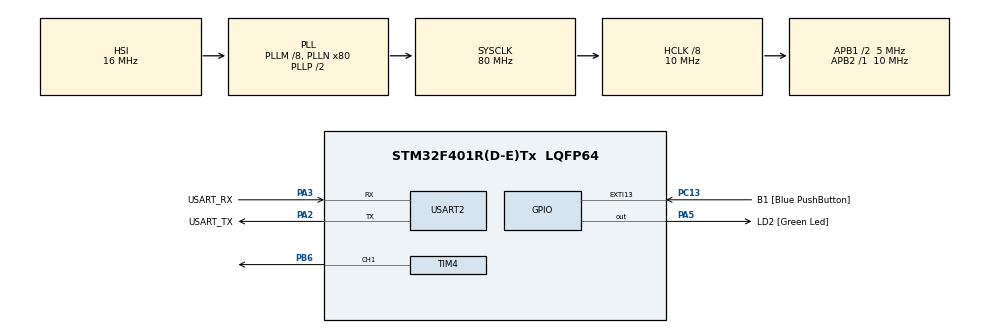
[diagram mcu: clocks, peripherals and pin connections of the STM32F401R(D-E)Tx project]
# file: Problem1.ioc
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Mcu.Family=STM32F4
Mcu.Name=STM32F401R(D-E)Tx
Mcu.Package=LQFP64
NVIC.PriorityGroup=NVIC_PRIORITYGROUP_2
NVIC.TIM4_IRQn=true\:0\:0\:false\:false\:true\:true\:true\:true
NVIC.USART2_IRQn=true\:2\:0\:true\:false\:true\:true\:true\:true
PA13.GPIO_Label=TMS
PA13.Mode=Serial_Wire
PA13.Signal=SYS_JTMS-SWDIO
PA14.GPIO_Label=TCK
PA14.Mode=Serial_Wire
PA14.Signal=SYS_JTCK-SWCLK
PA2.GPIO_Label=USART_TX
PA2.GPIO_Mode=GPIO_MODE_AF_PP
PA2.GPIO_PuPd=GPIO_NOPULL
PA2.GPIO_Speed=GPIO_SPEED_FREQ_LOW
PA2.Mode=Asynchronous
PA2.Signal=USART2_TX
PA3.GPIO_Label=USART_RX
PA3.GPIO_Mode=GPIO_MODE_AF_PP
PA3.GPIO_PuPd=GPIO_NOPULL
PA3.GPIO_Speed=GPIO_SPEED_FREQ_LOW
PA3.Mode=Asynchronous
PA3.Signal=USART2_RX
PA5.GPIO_Label=LD2 [Green Led]
PA5.GPIO_Mode=GPIO_MODE_OUTPUT_PP
PA5.GPIO_PuPd=GPIO_NOPULL
PA5.GPIO_Speed=GPIO_SPEED_FREQ_LOW
PA5.Signal=GPIO_Output
PB3.GPIO_Label=SWO
PB3.Signal=SYS_JTDO-SWO
PB6.Signal=S_TIM4_CH1
PC13-ANTI_TAMP.GPIO_Label=B1 [Blue PushButton]
PC13-ANTI_TAMP.GPIO_ModeDefaultEXTI=GPIO_MODE_IT_FALLING
PC13-ANTI_TAMP.GPIO_PuPd=GPIO_NOPULL
PC13-ANTI_TAMP.Signal=GPXTI13
PC14-OSC32_IN.Mode=LSE-External-Oscillator
PC14-OSC32_IN.Signal=RCC_OSC32_IN
PC15-OSC32_OUT.Mode=LSE-External-Oscillator
PC15-OSC32_OUT.Signal=RCC_OSC32_OUT
PH0\ -\ OSC_IN.Mode=HSE-External-Clock-Source
PH0\ -\ OSC_IN.Signal=RCC_OSC_IN
PH1\ -\ OSC_OUT.Mode=HSE-External-Clock-Source
PH1\ -\ OSC_OUT.Signal=RCC_OSC_OUT
ProjectManager.HeapSize=0x200
ProjectManager.StackSize=0x400
ProjectManager.TargetToolchain=STM32CubeIDE
RCC.48MHZClocksFreq_Value=22857142.85714286
RCC.AHBCLKDivider=RCC_SYSCLK_DIV8
RCC.AHBFreq_Value=10000000
RCC.APB1CLKDivider=RCC_HCLK_DIV2
RCC.APB1Freq_Value=5000000
RCC.APB1TimFreq_Value=10000000
RCC.APB2Freq_Value=10000000
RCC.APB2TimFreq_Value=10000000
RCC.CortexFreq_Value=10000000
RCC.HCLKFreq_Value=10000000
RCC.HSE_VALUE=8000000
RCC.HSI_VALUE=16000000
RCC.PLLM=8
RCC.PLLN=80
RCC.PLLQ=7
RCC.SYSCLKFreq_VALUE=80000000
RCC.SYSCLKSource=RCC_SYSCLKSOURCE_PLLCLK
RCC.VCOOutputFreq_Value=160000000
SH.S_TIM4_CH1.0=TIM4_CH1,Output Compare1 CH1
TIM4.AutoReloadPreload=TIM_AUTORELOAD_PRELOAD_DISABLE
TIM4.Channel-Output\ Compare1\ CH1=TIM_CHANNEL_1
TIM4.Period=999
TIM4.Prescaler=4999
USART2.VirtualMode=VM_ASYNC
VP_TIM4_VS_ClockSourceINT.Mode=Internal
board=NUCLEO-F401RE

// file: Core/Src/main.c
/* USER CODE BEGIN Header */
/**
  ******************************************************************************
  * @file           : main.c
  * @brief          : Main program body
  ******************************************************************************
  * @attention
  *
  * Copyright (c) 2024 STMicroelectronics.
  * All rights reserved.
  *
  * This software is licensed under terms that can be found in the LICENSE file
  * in the root directory of this software component.
  * If no LICENSE file comes with this software, it is provided AS-IS.
  *
  ******************************************************************************
  */
/* USER CODE END Header */
#include "main.h"

TIM_HandleTypeDef htim4;

UART_HandleTypeDef huart2;

void SystemClock_Config(void);
static void MX_GPIO_Init(void);
static void MX_USART2_UART_Init(void);
static void MX_TIM4_Init(void);

/* USER CODE BEGIN 0 */
char current[1];
char buffer[25];
int now = 0;
void HAL_TIM_PeriodElapsedCallback(TIM_HandleTypeDef *htim){
	if(htim == &htim4){
		HAL_GPIO_TogglePin(GPIOA, GPIO_PIN_5);
	}
}

void HAL_UART_RxCpltCallback(UART_HandleTypeDef *huart){
	buffer[now] = current[0];
	now++;
	if(now >= 24 || (current[0] >= '0' && current[0] <= '9')){
		for(int i=0;i<now;i++){
			if(buffer[i] < '0' || buffer[i] > '9'){
				current[0] = buffer[i];
				HAL_UART_Transmit(&huart2, current, 1, 10);
			}
		}
		now = 0;
	}
}

/* USER CODE END 0 */

int main(void)
{

  /* MCU Configuration--------------------------------------------------------*/

  /* Reset of all peripherals, Initializes the Flash interface and the Systick. */
  HAL_Init();

  /* Configure the system clock */
  SystemClock_Config();

  /* Initialize all configured peripherals */
  MX_GPIO_Init();
  MX_USART2_UART_Init();
  MX_TIM4_Init();
  /* USER CODE BEGIN 2 */
  HAL_TIM_Base_Start_IT(&htim4);

  /* USER CODE END 2 */

  /* Infinite loop */
  /* USER CODE BEGIN WHILE */
  while (1)
  {
	  HAL_UART_Receive_IT(&huart2, current, 1);
    /* USER CODE END WHILE */

  }
}

void SystemClock_Config(void)
{
  RCC_OscInitTypeDef RCC_OscInitStruct = {0};
  RCC_ClkInitTypeDef RCC_ClkInitStruct = {0};

  /** Configure the main internal regulator output voltage
  */
  __HAL_RCC_PWR_CLK_ENABLE();
  __HAL_PWR_VOLTAGESCALING_CONFIG(PWR_REGULATOR_VOLTAGE_SCALE2);

  /** Initializes the RCC Oscillators according to the specified parameters
  * in the RCC_OscInitTypeDef structure.
  */
  RCC_OscInitStruct.OscillatorType = RCC_OSCILLATORTYPE_HSI;
  RCC_OscInitStruct.HSIState = RCC_HSI_ON;
  RCC_OscInitStruct.HSICalibrationValue = RCC_HSICALIBRATION_DEFAULT;
  RCC_OscInitStruct.PLL.PLLState = RCC_PLL_ON;
  RCC_OscInitStruct.PLL.PLLSource = RCC_PLLSOURCE_HSI;
  RCC_OscInitStruct.PLL.PLLM = 8;
  RCC_OscInitStruct.PLL.PLLN = 80;
  RCC_OscInitStruct.PLL.PLLP = RCC_PLLP_DIV2;
  RCC_OscInitStruct.PLL.PLLQ = 7;
  if (HAL_RCC_OscConfig(&RCC_OscInitStruct) != HAL_OK)
  {
    Error_Handler();
  }

  /** Initializes the CPU, AHB and APB buses clocks
  */
  RCC_ClkInitStruct.ClockType = RCC_CLOCKTYPE_HCLK|RCC_CLOCKTYPE_SYSCLK
                              |RCC_CLOCKTYPE_PCLK1|RCC_CLOCKTYPE_PCLK2;
  RCC_ClkInitStruct.SYSCLKSource = RCC_SYSCLKSOURCE_PLLCLK;
  RCC_ClkInitStruct.AHBCLKDivider = RCC_SYSCLK_DIV8;
  RCC_ClkInitStruct.APB1CLKDivider = RCC_HCLK_DIV2;
  RCC_ClkInitStruct.APB2CLKDivider = RCC_HCLK_DIV1;

  if (HAL_RCC_ClockConfig(&RCC_ClkInitStruct, FLASH_LATENCY_0) != HAL_OK)
  {
    Error_Handler();
  }
}

static void MX_TIM4_Init(void)
{

  TIM_ClockConfigTypeDef sClockSourceConfig = {0};
  TIM_MasterConfigTypeDef sMasterConfig = {0};
  TIM_OC_InitTypeDef sConfigOC = {0};

  htim4.Instance = TIM4;
  htim4.Init.Prescaler = 4999;
  htim4.Init.CounterMode = TIM_COUNTERMODE_UP;
  htim4.Init.Period = 999;
  htim4.Init.ClockDivision = TIM_CLOCKDIVISION_DIV1;
  htim4.Init.AutoReloadPreload = TIM_AUTORELOAD_PRELOAD_DISABLE;
  if (HAL_TIM_Base_Init(&htim4) != HAL_OK)
  {
    Error_Handler();
  }
  sClockSourceConfig.ClockSource = TIM_CLOCKSOURCE_INTERNAL;
  if (HAL_TIM_ConfigClockSource(&htim4, &sClockSourceConfig) != HAL_OK)
  {
    Error_Handler();
  }
  if (HAL_TIM_OC_Init(&htim4) != HAL_OK)
  {
    Error_Handler();
  }
  sMasterConfig.MasterOutputTrigger = TIM_TRGO_RESET;
  sMasterConfig.MasterSlaveMode = TIM_MASTERSLAVEMODE_DISABLE;
  if (HAL_TIMEx_MasterConfigSynchronization(&htim4, &sMasterConfig) != HAL_OK)
  {
    Error_Handler();
  }
  sConfigOC.OCMode = TIM_OCMODE_TIMING;
  sConfigOC.Pulse = 0;
  sConfigOC.OCPolarity = TIM_OCPOLARITY_HIGH;
  sConfigOC.OCFastMode = TIM_OCFAST_DISABLE;
  if (HAL_TIM_OC_ConfigChannel(&htim4, &sConfigOC, TIM_CHANNEL_1) != HAL_OK)
  {
    Error_Handler();
  }
  HAL_TIM_MspPostInit(&htim4);

}

static void MX_USART2_UART_Init(void)
{

  huart2.Instance = USART2;
  huart2.Init.BaudRate = 115200;
  huart2.Init.WordLength = UART_WORDLENGTH_8B;
  huart2.Init.StopBits = UART_STOPBITS_1;
  huart2.Init.Parity = UART_PARITY_NONE;
  huart2.Init.Mode = UART_MODE_TX_RX;
  huart2.Init.HwFlowCtl = UART_HWCONTROL_NONE;
  huart2.Init.OverSampling = UART_OVERSAMPLING_16;
  if (HAL_UART_Init(&huart2) != HAL_OK)
  {
    Error_Handler();
  }

}

static void MX_GPIO_Init(void)
{
  GPIO_InitTypeDef GPIO_InitStruct = {0};

  /* GPIO Ports Clock Enable */
  __HAL_RCC_GPIOC_CLK_ENABLE();
  __HAL_RCC_GPIOH_CLK_ENABLE();
  __HAL_RCC_GPIOA_CLK_ENABLE();
  __HAL_RCC_GPIOB_CLK_ENABLE();

  /*Configure GPIO pin Output Level */
  HAL_GPIO_WritePin(LD2_GPIO_Port, LD2_Pin, GPIO_PIN_RESET);

  /*Configure GPIO pin : B1_Pin */
  GPIO_InitStruct.Pin = B1_Pin;
  GPIO_InitStruct.Mode = GPIO_MODE_IT_FALLING;
  GPIO_InitStruct.Pull = GPIO_NOPULL;
  HAL_GPIO_Init(B1_GPIO_Port, &GPIO_InitStruct);

  /*Configure GPIO pin : LD2_Pin */
  GPIO_InitStruct.Pin = LD2_Pin;
  GPIO_InitStruct.Mode = GPIO_MODE_OUTPUT_PP;
  GPIO_InitStruct.Pull = GPIO_NOPULL;
  GPIO_InitStruct.Speed = GPIO_SPEED_FREQ_LOW;
  HAL_GPIO_Init(LD2_GPIO_Port, &GPIO_InitStruct);

}

void Error_Handler(void)
{
  __disable_irq();
  while (1)
  {
  }
}
